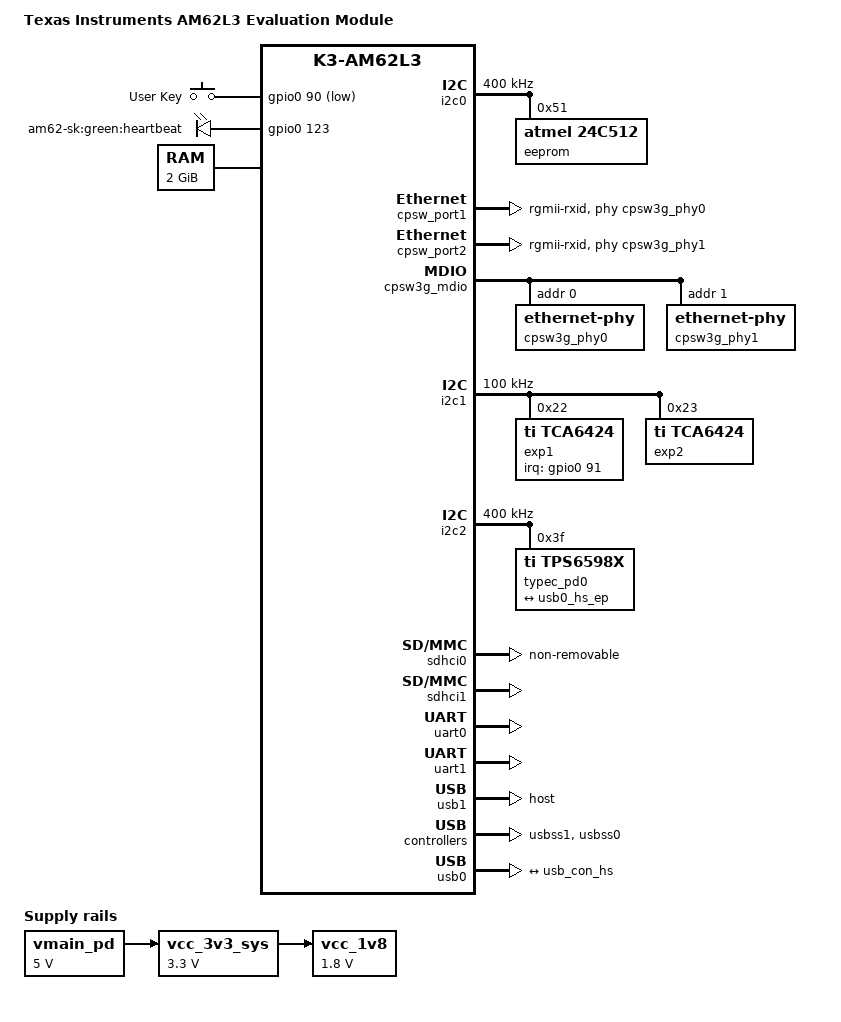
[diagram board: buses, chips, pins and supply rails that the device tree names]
// SPDX-License-Identifier: GPL-2.0-only or MIT
/*
 * Device Tree file for the AM62L3 Evaluation Module
 * Copyright (C) 2025 Texas Instruments Incorporated - https://www.ti.com/
 *
 * Technical Reference Manual: https://www.ti.com/lit/pdf/sprujb4
 * Data Sheet: https://www.ti.com/lit/pdf/sprspa1
 */

/dts-v1/;

#include <dt-bindings/gpio/gpio.h>
#include <dt-bindings/input/input.h>
#include <dt-bindings/leds/common.h>
#include <dt-bindings/net/ti-dp83867.h>

#include "k3-am62l3.dtsi"
#include "k3-am62l-barebox.dtsi"
#include "k3-pinctrl.h"

/ {
	compatible = "ti,am62l3-evm", "ti,am62l3";
	model = "Texas Instruments AM62L3 Evaluation Module";

	aliases {
		mmc0 = &sdhci0;
		mmc1 = &sdhci1;
	};

	chosen {
		stdout-path = &uart0;
	};

	gpio_keys: gpio-keys {
		compatible = "gpio-keys";
		autorepeat;
		pinctrl-names = "default";
		pinctrl-0 = <&usr_btn_pins_default>;

		usr: button-usr {
			label = "User Key";
			linux,code = <BTN_0>;
			gpios = <&gpio0 90 GPIO_ACTIVE_LOW>;
		};
	};

	leds {
		compatible = "gpio-leds";
		pinctrl-names = "default";
		pinctrl-0 = <&usr_led_pins_default>;

		led-0 {
			label = "am62-sk:green:heartbeat";
			gpios = <&gpio0 123 GPIO_ACTIVE_HIGH>;
			linux,default-trigger = "heartbeat";
			function = LED_FUNCTION_HEARTBEAT;
			default-state = "on";
		};
	};

	memory@80000000 {
		reg = <0x00000000 0x80000000 0x00000000 0x80000000>;
		device_type = "memory";
		bootph-all;
	};

	vcc_1v8: regulator-3 {
		/* output of TPS6282518DMQ */
		compatible = "regulator-fixed";
		regulator-name = "vcc_1v8";
		regulator-min-microvolt = <1800000>;
		regulator-max-microvolt = <1800000>;
		vin-supply = <&vcc_3v3_sys>;
		regulator-always-on;
		regulator-boot-on;
	};

	vcc_3v3_sys: regulator-1 {
		/* output of LM61460-Q1 */
		compatible = "regulator-fixed";
		regulator-name = "vcc_3v3_sys";
		regulator-min-microvolt = <3300000>;
		regulator-max-microvolt = <3300000>;
		vin-supply = <&vmain_pd>;
		regulator-always-on;
		regulator-boot-on;
	};

	vmain_pd: regulator-0 {
		/* TPS65988 PD CONTROLLER OUTPUT */
		bootph-all;
		compatible = "regulator-fixed";
		regulator-name = "vmain_pd";
		regulator-min-microvolt = <5000000>;
		regulator-max-microvolt = <5000000>;
		regulator-always-on;
		regulator-boot-on;
	};
};

&i2c0 {
	pinctrl-names = "default";
	pinctrl-0 = <&i2c0_pins_default>;
	clock-frequency = <400000>;
	status = "okay";
	bootph-all;

	eeprom@51 {
		/* AT24C512C-MAHM-T or M24512-DFMC6TG */
		compatible = "atmel,24c512";
		reg = <0x51>;
	};
};

&cpsw3g {
	pinctrl-names = "default";
	pinctrl-0 = <&rgmii1_pins_default>,
		    <&rgmii2_pins_default>;
};

&cpsw_port1 {
	phy-mode = "rgmii-rxid";
	phy-handle = <&cpsw3g_phy0>;
};

&cpsw_port2 {
	phy-mode = "rgmii-rxid";
	phy-handle = <&cpsw3g_phy1>;
};

&cpsw3g_mdio {
	pinctrl-names = "default";
	pinctrl-0 = <&mdio1_pins_default>;
	status = "okay";

	cpsw3g_phy0: ethernet-phy@0 {
		reg = <0>;
		ti,rx-internal-delay = <DP83867_RGMIIDCTL_2_00_NS>;
		ti,fifo-depth = <DP83867_PHYCR_FIFO_DEPTH_4_B_NIB>;
		ti,min-output-impedance;
	};

	cpsw3g_phy1: ethernet-phy@1 {
		reg = <1>;
		ti,rx-internal-delay = <DP83867_RGMIIDCTL_2_00_NS>;
		ti,fifo-depth = <DP83867_PHYCR_FIFO_DEPTH_4_B_NIB>;
		ti,min-output-impedance;
	};
};

&i2c1 {
	pinctrl-0 = <&i2c1_pins_default>;
	pinctrl-names = "default";
	clock-frequency = <100000>;
	status = "okay";
	bootph-all;

	exp1: gpio@22 {
		compatible = "ti,tca6424";
		reg = <0x22>;
		gpio-controller;
		#gpio-cells = <2>;
		gpio-line-names = "", "",
			"UART1_FET_SEL", "MMC1_SD_EN",
			"VPP_EN", "EXP_PS_3V3_EN",
			"UART1_FET_BUF_EN", "",
			"DSI_GPIO0", "DSI_GPIO1",
			"", "BT_UART_WAKE_SOC_3V3",
			"USB_TYPEA_OC_INDICATION", "",
			"", "WLAN_ALERTn",
			"HDMI_INTn", "TEST_GPIO2",
			"MCASP0_FET_EN", "MCASP0_BUF_BT_EN",
			"MCASP0_FET_SEL", "DSI_EDID",
			"PD_I2C_IRQ", "IO_EXP_TEST_LED";

		interrupt-parent = <&gpio0>;
		interrupts = <91 IRQ_TYPE_EDGE_FALLING>;
		interrupt-controller;
		#interrupt-cells = <2>;

		pinctrl-0 = <&gpio0_ioexp_intr_pins_default>;
		pinctrl-names = "default";
		bootph-all;
	};

	exp2: gpio@23 {
		compatible = "ti,tca6424";
		reg = <0x23>;
		gpio-controller;
		#gpio-cells = <2>;
		gpio-line-names = "BT_EN_SOC", "VOUT0_FET_SEL0",
			"", "",
			"", "",
			"", "",
			"WL_LT_EN", "EXP_PS_5V0_EN",
			"TP45", "TP48",
			"TP46", "TP49",
			"TP47", "TP50",
			"GPIO_QSPI_NAND_RSTn", "GPIO_HDMI_RSTn",
			"GPIO_CPSW1_RST", "GPIO_CPSW2_RST",
			"", "GPIO_AUD_RSTn",
			"GPIO_eMMC_RSTn", "SoC_WLAN_SDIO_RST";

		bootph-all;
	};
};

&i2c2 {
	status = "okay";
	pinctrl-names = "default";
	pinctrl-0 = <&i2c2_pins_default>;
	clock-frequency = <400000>;

	typec_pd0: tps6598x@3f {
		compatible = "ti,tps6598x";
		reg = <0x3f>;

		connector {
			compatible = "usb-c-connector";
			label = "USB-C";
			self-powered;
			data-role = "dual";
			power-role = "sink";
			port {
				usb_con_hs: endpoint {
					remote-endpoint = <&usb0_hs_ep>;
				};
			};
		};
	};
};

&pmx0 {
	gpio0_ioexp_intr_pins_default: gpio0-ioexp-intr-default-pins {
		pinctrl-single,pins = <
			AM62LX_IOPAD(0x01b0, PIN_INPUT, 7)	 /* (B12) SPI0_D1.GPIO0_91 */
		>;
		bootph-all;
	};

	i2c0_pins_default: i2c0-default-pins {
		pinctrl-single,pins = <
			AM62LX_IOPAD(0x01cc, PIN_INPUT_PULLUP, 0) /* (B7) I2C0_SCL */
			AM62LX_IOPAD(0x01d0, PIN_INPUT_PULLUP, 0) /* (A7) I2C0_SDA */
		>;
		bootph-all;
	};

	i2c1_pins_default: i2c1-default-pins {
		pinctrl-single,pins = <
			AM62LX_IOPAD(0x01d4, PIN_INPUT_PULLUP, 0) /* (D7) I2C1_SCL */
			AM62LX_IOPAD(0x01d8, PIN_INPUT_PULLUP, 0) /* (A6) I2C1_SDA */
		>;
	};

	i2c2_pins_default: i2c2-default-pins {
		pinctrl-single,pins = <
			AM62LX_IOPAD(0x01dc, PIN_INPUT_PULLUP, 0) /* (B8) I2C2_SCL */
			AM62LX_IOPAD(0x01e0, PIN_INPUT_PULLUP, 0) /* (D8) I2C2_SDA */
		>;
	};

	mmc0_pins_default: mmc0-default-pins {
		pinctrl-single,pins = <
			AM62LX_IOPAD(0x0214, PIN_INPUT_PULLUP, 0) /* (D2) MMC0_CMD */
			AM62LX_IOPAD(0x020c, PIN_OUTPUT, 0)	 /* (B2) MMC0_CLK */
			AM62LX_IOPAD(0x0208, PIN_INPUT_PULLUP, 0) /* (D3) MMC0_DAT0 */
			AM62LX_IOPAD(0x0204, PIN_INPUT_PULLUP, 0) /* (D4) MMC0_DAT1 */
			AM62LX_IOPAD(0x0200, PIN_INPUT_PULLUP, 0) /* (C1) MMC0_DAT2 */
			AM62LX_IOPAD(0x01fc, PIN_INPUT_PULLUP, 0) /* (C2) MMC0_DAT3 */
			AM62LX_IOPAD(0x01f8, PIN_INPUT_PULLUP, 0) /* (C4) MMC0_DAT4 */
			AM62LX_IOPAD(0x01f4, PIN_INPUT_PULLUP, 0) /* (B3) MMC0_DAT5 */
			AM62LX_IOPAD(0x01f0, PIN_INPUT_PULLUP, 0) /* (A3) MMC0_DAT6 */
			AM62LX_IOPAD(0x01ec, PIN_INPUT_PULLUP, 0) /* (B4) MMC0_DAT7 */
		>;
		bootph-all;
	};

	rgmii1_pins_default: rgmii1-default-pins {
		pinctrl-single,pins = <
			AM62LX_IOPAD(0x0138, PIN_INPUT, 0) /* (Y8) RGMII1_RD0 */
			AM62LX_IOPAD(0x013c, PIN_INPUT, 0) /* (AA6) RGMII1_RD1 */
			AM62LX_IOPAD(0x0140, PIN_INPUT, 0) /* (AA8) RGMII1_RD2 */
			AM62LX_IOPAD(0x0144, PIN_INPUT, 0) /* (W8) RGMII1_RD3 */
			AM62LX_IOPAD(0x0134, PIN_INPUT, 0) /* (Y7) RGMII1_RXC */
			AM62LX_IOPAD(0x0130, PIN_INPUT, 0) /* (Y6) RGMII1_RX_CTL */
			AM62LX_IOPAD(0x0120, PIN_OUTPUT, 0) /* (AC10) RGMII1_TD0 */
			AM62LX_IOPAD(0x0124, PIN_OUTPUT, 0) /* (W13) RGMII1_TD1 */
			AM62LX_IOPAD(0x0128, PIN_OUTPUT, 0) /* (Y11) RGMII1_TD2 */
			AM62LX_IOPAD(0x012c, PIN_OUTPUT, 0) /* (AA11) RGMII1_TD3 */
			AM62LX_IOPAD(0x011c, PIN_OUTPUT, 0) /* (W11) RGMII1_TXC */
			AM62LX_IOPAD(0x0118, PIN_OUTPUT, 0) /* (AB11) RGMII1_TX_CTL */
		>;
	};

	rgmii2_pins_default: rgmii2-default-pins {
		pinctrl-single,pins = <
			AM62LX_IOPAD(0x0170, PIN_INPUT, 0) /* (AB9) RGMII2_RD0 */
			AM62LX_IOPAD(0x0174, PIN_INPUT, 0) /* (AC9) RGMII2_RD1 */
			AM62LX_IOPAD(0x0178, PIN_INPUT, 0) /* (AB10) RGMII2_RD2 */
			AM62LX_IOPAD(0x017c, PIN_INPUT, 0) /* (AB8) RGMII2_RD3 */
			AM62LX_IOPAD(0x016c, PIN_INPUT, 0) /* (AC7) RGMII2_RXC */
			AM62LX_IOPAD(0x0168, PIN_INPUT, 0) /* (AC8) RGMII2_RX_CTL */
			AM62LX_IOPAD(0x0158, PIN_OUTPUT, 0) /* (AC12) RGMII2_TD0 */
			AM62LX_IOPAD(0x015c, PIN_OUTPUT, 0) /* (AB13) RGMII2_TD1 */
			AM62LX_IOPAD(0x0160, PIN_OUTPUT, 0) /* (AA12) RGMII2_TD2 */
			AM62LX_IOPAD(0x0164, PIN_OUTPUT, 0) /* (AA13) RGMII2_TD3 */
			AM62LX_IOPAD(0x0154, PIN_OUTPUT, 0) /* (Y13) RGMII2_TXC */
			AM62LX_IOPAD(0x0150, PIN_OUTPUT, 0) /* (AB12) RGMII2_TX_CTL */
		>;
	};

	mdio1_pins_default: mdio1-default-pins {
		pinctrl-single,pins = <
			AM62LX_IOPAD(0x014c, PIN_OUTPUT, 0) /* (AC15) MDIO0_MDC */
			AM62LX_IOPAD(0x0148, PIN_INPUT, 0) /* (AC13) MDIO0_MDIO */
		>;
	};

	mmc1_pins_default: mmc1-default-pins {
		pinctrl-single,pins = <
			AM62LX_IOPAD(0x0230, PIN_INPUT, 0)	 /* (Y3) MMC1_CMD */
			AM62LX_IOPAD(0x0228, PIN_OUTPUT, 0)	 /* (Y2) MMC1_CLK */
			AM62LX_IOPAD(0x0224, PIN_INPUT, 0)	 /* (AA1) MMC1_DAT0 */
			AM62LX_IOPAD(0x0220, PIN_INPUT_PULLUP, 0) /* (Y4) MMC1_DAT1 */
			AM62LX_IOPAD(0x021c, PIN_INPUT_PULLUP, 0) /* (AA2) MMC1_DAT2 */
			AM62LX_IOPAD(0x0218, PIN_INPUT_PULLUP, 0) /* (AB2) MMC1_DAT3 */
			AM62LX_IOPAD(0x0234, PIN_INPUT, 0)	 /* (B6) MMC1_SDCD */
		>;
		bootph-all;
	};

	uart0_pins_default: uart0-default-pins {
		pinctrl-single,pins = <
			AM62LX_IOPAD(0x01b4, PIN_INPUT, 0)	 /* (D13) UART0_RXD */
			AM62LX_IOPAD(0x01b8, PIN_OUTPUT, 0)	 /* (C13) UART0_TXD */
		>;
		bootph-all;
	};

	uart1_pins_default: uart1-default-pins {
		pinctrl-single,pins = <
			AM62LX_IOPAD(0x0180, PIN_INPUT, 2)	 /* (A8) MCASP0_AXR3.UART1_CTSn */
			AM62LX_IOPAD(0x0184, PIN_OUTPUT, 2)	 /* (B10) MCASP0_AXR2.UART1_RTSn */
			AM62LX_IOPAD(0x0198, PIN_INPUT, 2)	 /* (C11) MCASP0_AFSR.UART1_RXD */
			AM62LX_IOPAD(0x019c, PIN_OUTPUT, 2)	 /* (A12) MCASP0_ACLKR.UART1_TXD */
		>;
		bootph-all;
	};

	usb1_default_pins: usb1-default-pins {
		pinctrl-single,pins = <
			AM62LX_IOPAD(0x0248, PIN_INPUT | PIN_DS_PULLUD_ENABLE | PIN_DS_PULL_UP, 0) /* (A5) USB1_DRVVBUS */
		>;
	};

	usr_btn_pins_default: usr-btn-default-pins {
		pinctrl-single,pins = <
			AM62LX_IOPAD(0x01ac, PIN_INPUT, 7)	 /* (E12) SPI0_D0.GPIO0_90 */
		>;
	};

	usr_led_pins_default: usr-led-default-pins {
		pinctrl-single,pins = <
			AM62LX_IOPAD(0x0238, PIN_OUTPUT, 7)	 /* (D24) MMC1_SDWP.GPIO0_123 */
		>;
	};
};

&sdhci0 {
	/* eMMC */
	pinctrl-0 = <&mmc0_pins_default>;
	pinctrl-names = "default";
	non-removable;
	status = "okay";
	bootph-all;
};

&sdhci1 {
	/* SD/MMC */
	pinctrl-0 = <&mmc1_pins_default>;
	pinctrl-names = "default";
	status = "okay";
	bootph-all;
};

&uart0 {
	pinctrl-0 = <&uart0_pins_default>;
	pinctrl-names = "default";
	status = "okay";
	bootph-all;
};

&uart1 {
	pinctrl-0 = <&uart1_pins_default>;
	pinctrl-names = "default";
	status = "okay";
	bootph-all;
};

&usb1 {
	pinctrl-0 = <&usb1_default_pins>;
	pinctrl-names = "default";
	dr_mode = "host";
};

&usbss1 {
	ti,vbus-divider;
	status = "okay";
};

&usb0 {
	usb-role-switch;

	port {
		usb0_hs_ep: endpoint {
			remote-endpoint = <&usb_con_hs>;
		};
	};
};

&usbss0 {
	ti,vbus-divider;
	status = "okay";
};
